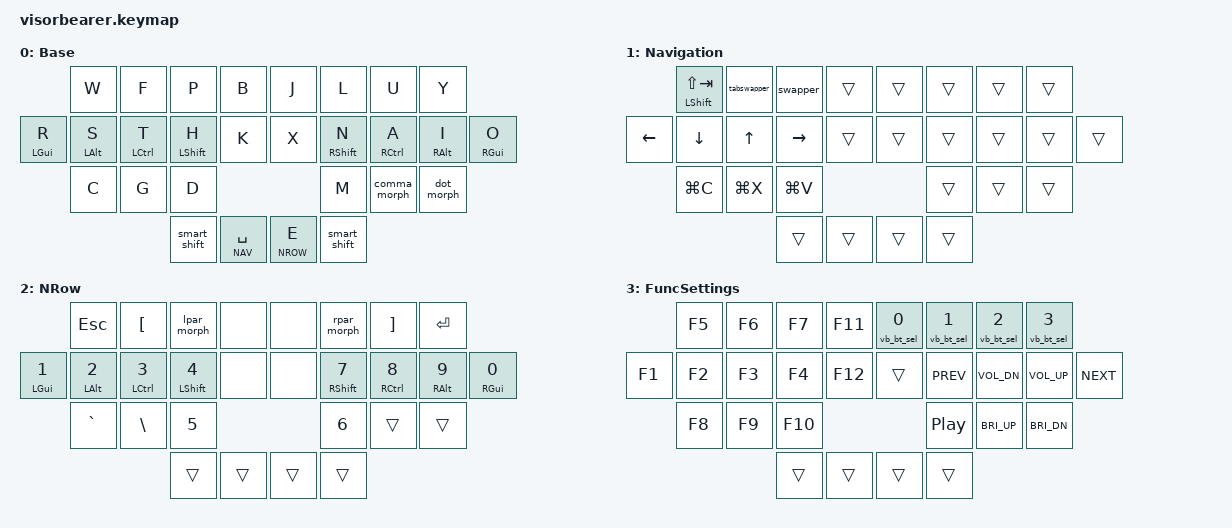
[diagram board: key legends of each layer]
#include <behaviors.dtsi>
#include <dt-bindings/zmk/keys.h>
#include <dt-bindings/zmk/bt.h>
#include <dt-bindings/zmk/outputs.h>
#include <behaviors/visorbearer_led.dtsi>

#include "zmk-helpers/helper.h"
#include "visorbearer.h"

/* HOUSEKEEPING */
// Apply matrix transform for physical layout
ZMK_APPLY_MATRIX_TRANSFORM(visorbearer_13332_transform)

// Define shorthands for QoL & readability
#define APT  0
#define NAV  1
#define NROW 2
#define FUN  3

#define XXX &none
#define ___ &trans

#define KEYS_L LT0 LT1 LT2 LT3 LM0 LM1 LM2 LM3 LM4 LB1 LB2 LB3  // left-hand keys
#define KEYS_R RT0 RT1 RT2 RT3 RM0 RM1 RM2 RM3 RM4 RB1 RB2 RB3  // right-hand keys
#define THUMBS LH0 LH1 RH0 RH1                                  // thumb keys

/* GLOBAL DEFAULTS */

#define QUICK_TAP_MS 175

&soft_off { hold-time-ms = <5000>; };

&sk {
  release-after-ms = <900>;
  quick-release;
};

&sl { // Allow sticky mods to chord across sticky layers.
  ignore-modifiers;
};

&lt {
  flavor = "balanced";
  tapping-term-ms = <200>;
  quick-tap-ms = <QUICK_TAP_MS>;
};

/* CUSTOM BEHAVIORS */
#define AS(keycode) &as LS(keycode) keycode     // Autoshift Macro
#define MEH LS(LC(LALT))

// Alt+Tab swapper, requires tri-state module.
ZMK_TRI_STATE(swapper, bindings = <&kt LGUI>, <&kp TAB>, <&kt LGUI>;
              ignored-key-positions = <LT3 LM1 LM2 LM3 LM4>;)

ZMK_TRI_STATE(tabswapper, bindings = <&kt LCTL>, <&kp TAB>, <&kt LCTL>;
              ignored-key-positions = <LT3 LM1 LM2 LM3 LM4>;)

// Define mod-morph with a *single* mod trigger for less repetition.
#define SIMPLE_MORPH(NAME, MOD, BINDING1, BINDING2)                            \
  ZMK_MOD_MORPH(NAME, mods = <(MOD_L##MOD | MOD_R##MOD)>;                      \
                bindings = <BINDING1>, <BINDING2>;)

// Tap: comma | Shift + tap: semicolon
SIMPLE_MORPH(comma_morph, SFT, &kp COMMA, &kp SEMICOLON)
// Tap: period | Shift + tap: colon
SIMPLE_MORPH(dot_morph, SFT, &kp DOT, &kp COLON)

// Tap: parentheses | Shift + tap: angle bracket
SIMPLE_MORPH(lpar_morph, SFT, &kp LPAR, &kp LT)
SIMPLE_MORPH(rpar_morph, SFT, &kp RPAR, &kp GT)

// Tap: backspace | Shift + tap: delete
SIMPLE_MORPH(bksp_del, SFT, &kp BACKSPACE, &kp DELETE)

ZMK_MACRO(qu,
  bindings = <&kp Q &kp U>;
)

/* COMBOS */
/*    VISORBEARER KEY MATRIX / LAYOUT MAPPING
      ╭──────────────────┬──────────────────╮
      │ LT3 LT2 LT1 LT0  │  RT0 RT1 RT2 RT3 │
  ╭───╯ LM3 LM2 LM1 LM0  │  RM0 RM1 RM2 RM3 ╰───╮
  │ LM4 LB3 LB2 LB1      │      RB1 RB2 RB3 RM4 │
  ╰───────────╮ LH1 LH0  │  RH0 RH1 ╭───────────╯
              ╰──────────┴──────────╯
*/

/* COMBOS */
#define COMBO_TERM_FAST 18
#define COMBO_TERM_SLOW 30

#define COMBO_IDLE_FAST 150
#define COMBO_IDLE_SLOW 50

/* Crossbody combos */
ZMK_COMBO(softoff,      &vb_soft_off,          LT0 RT0,     APT                   , COMBO_TERM_SLOW, COMBO_IDLE_SLOW)
ZMK_COMBO(capslock,     &kp CAPSLOCK,          LT3 RT3,     APT                   , COMBO_TERM_SLOW, COMBO_IDLE_SLOW)
ZMK_COMBO(capsword,     &caps_word,            LM1 RM1,     APT                   , COMBO_TERM_SLOW, COMBO_IDLE_SLOW)

/* Horizontal combos - left hand */
ZMK_COMBO(q,            &kp Q,                 LT3 LT2,     APT                   , COMBO_TERM_SLOW, COMBO_IDLE_SLOW)
ZMK_COMBO(z,            &kp Z,                 LT2 LT1,     APT                   , COMBO_TERM_SLOW, COMBO_IDLE_SLOW)
ZMK_COMBO(esc,          &kp ESCAPE,            LT3 LT1,     APT NAV NROW          , COMBO_IDLE_SLOW, COMBO_IDLE_SLOW)

// Combos overlapping HRMs are set up as hold-taps themselves to allow for instantaneous
// chording of mods.
ZMK_COMBO(enter_l,      &hl LA(LC(LGUI))ENTER, LM3 LM2 LM1, APT                   , COMBO_TERM_SLOW, COMBO_IDLE_FAST)
ZMK_COMBO(bksp_l,       &hl LA(LC(LGUI))BKSP,  LM3 LM2 LM1,     NAV               , COMBO_TERM_SLOW, COMBO_IDLE_FAST)
ZMK_COMBO(tab,          &hl LC(LGUI) TAB,      LM3 LM1,     APT NAV NROW          , COMBO_TERM_SLOW, COMBO_IDLE_SLOW)
ZMK_COMBO(qu,           &qu,                   LM2 LM1,     APT                   , COMBO_TERM_FAST, COMBO_IDLE_FAST)
ZMK_COMBO(v,            &hl LA(LCTL) V,        LM3 LM2,     APT                   , COMBO_TERM_FAST, COMBO_IDLE_FAST)

ZMK_COMBO(undo,         &kp LG(Z),             LB3 LB2,         NAV               , COMBO_TERM_SLOW, COMBO_IDLE_SLOW)
ZMK_COMBO(redo,         &kp LS(LG(Z)),         LB2 LB1,         NAV               , COMBO_TERM_SLOW, COMBO_IDLE_SLOW)

/* Vertical combos - left hand */
ZMK_COMBO(hash,         &kp HASH,              LT3 LM3,     APT     NROW          , COMBO_TERM_SLOW, COMBO_IDLE_FAST)
ZMK_COMBO(dllr,         &kp DLLR,              LT2 LM2,     APT     NROW          , COMBO_TERM_SLOW, COMBO_IDLE_FAST)
ZMK_COMBO(percent,      &kp PERCENT,           LT1 LM1,     APT     NROW          , COMBO_TERM_SLOW, COMBO_IDLE_FAST)
ZMK_COMBO(at,           &kp AT,                LT0 LM0,     APT     NROW          , COMBO_TERM_SLOW, COMBO_IDLE_FAST)

/* Horizontal combos - right hand */
ZMK_COMBO(equal,        &kp EQUAL,             RT3 RT2,     APT     NROW          , COMBO_TERM_SLOW, COMBO_IDLE_SLOW)
ZMK_COMBO(minus,        &kp MINUS,             RT2 RT1,     APT     NROW          , COMBO_TERM_SLOW, COMBO_IDLE_SLOW)

ZMK_COMBO(bt_clr,       &vb_bt_clr,            RT3 RT2 RT1,              FUN      , COMBO_TERM_SLOW, COMBO_IDLE_SLOW)

ZMK_COMBO(enter_r,      &hr RC(RGUI) ENTER,    RM3 RM1,     APT NAV NROW          , COMBO_TERM_FAST, COMBO_IDLE_FAST)
ZMK_COMBO(bksp_r,       &hr RC(RA(RGUI)) BKSP, RM3 RM2 RM1, APT NAV NROW          , COMBO_TERM_SLOW, COMBO_IDLE_FAST)
ZMK_COMBO(apos,         &hr RC(RALT) APOS,     RM3 RM2,     APT NAV NROW          , COMBO_TERM_FAST, COMBO_IDLE_FAST)

ZMK_COMBO(fslash,       &kp SLASH,             RB3 RB2,     APT NAV NROW          , COMBO_TERM_SLOW, COMBO_IDLE_FAST)
ZMK_COMBO(excl,         &kp EXCL,              RB2 RB1,     APT NAV NROW          , COMBO_TERM_SLOW, COMBO_IDLE_FAST)

ZMK_COMBO(esc_thumb,    &kp ESC,               RH1 RH0,     APT NAV NROW          , COMBO_TERM_SLOW, COMBO_IDLE_FAST)

/* Vertical combos - right hand */
ZMK_COMBO(star,         &kp STAR,              RT3 RM3,     APT     NROW          , COMBO_TERM_SLOW, COMBO_IDLE_FAST)
ZMK_COMBO(amps,         &kp AMPS,              RT2 RM2,     APT     NROW          , COMBO_TERM_SLOW, COMBO_IDLE_FAST)
ZMK_COMBO(caret,        &kp CARET,             RT1 RM1,     APT     NROW          , COMBO_TERM_SLOW, COMBO_IDLE_FAST)

/ {
    behaviors {
      as: auto_shift {
        compatible = "zmk,behavior-hold-tap";
        #binding-cells = <2>;
        tapping_term_ms = <250>;
        // quick_tap_ms = <0>;
        require-prior-idle-ms = <100>;
        flavor = "tap-preferred";
        bindings = <&kp>, <&kp>;
      };

      ht: hold_tap {
        compatible = "zmk,behavior-hold-tap";
        #binding-cells = <2>;
        tapping_term_ms = <200>;
        flavor = "balanced";
        bindings = <&kp>, <&kp>;
      };
      hrm: alpha_hold_tap {
        compatible = "zmk,behavior-hold-tap";
        #binding-cells = <2>;
        flavor = "balanced";
        tapping-term-ms = <280>;
        quick-tap-ms = <175>;
        require-prior-idle-ms = <150>;
        bindings = <&kp>, <&kp>;
      };

      hl: left_homerow_mods {
        compatible = "zmk,behavior-hold-tap";
        #binding-cells = <2>;
        flavor = "balanced";
        tapping-term-ms = <280>;
        quick-tap-ms = <QUICK_TAP_MS>;
        require-prior-idle-ms = <150>;
        bindings = <&kp>, <&kp>;
        hold-trigger-key-positions = <KEYS_R THUMBS>;
        hold-trigger-on-release;
      };

      hr: right_homerow_mods {
        compatible = "zmk,behavior-hold-tap";
        #binding-cells = <2>;
        flavor = "balanced";
        tapping-term-ms = <280>;
        quick-tap-ms = <QUICK_TAP_MS>;
        require-prior-idle-ms = <150>;
        bindings = <&kp>, <&kp>;
        hold-trigger-key-positions = <KEYS_L THUMBS>;
        hold-trigger-on-release;
      };

      sabk: shift_to_alt_backspace {
        compatible = "zmk,behavior-mod-morph";
        #binding-cells = <0>;
        bindings = <&kp BSPC>, <&kp LA(BSPC)>;
        mods = <(MOD_LSFT|MOD_RSFT)>;
      };

      smart_shift: smart_shift {
        compatible = "zmk,behavior-mod-morph";
        #binding-cells = <0>;
        bindings = <&sk LSHFT>, <&caps_word>;
        mods = <(MOD_LSFT|MOD_RSFT)>;
      };

      sym_bspc: left_thumb_hold_tap {
        compatible = "zmk,behavior-hold-tap";
        #binding-cells = <2>;
        flavor = "tap-preferred";
        tapping-term-ms = <150>;
        quick-tap-ms = <200>;
        bindings = <&mo>, <&sabk>;
      };
    };

    conditional_layers {
      compatible = "zmk,conditional-layers";
      tri_layer {
        if-layers = <1 2>;
        then-layer = <3>;
      };
    };

    keymap {
      compatible = "zmk,keymap";

      base {
        display-name = "Base";
        bindings = <
        //                ╭─────────────┬─────────────┬─────────────┬─────────────╮   ╭─────────────┬─────────────┬─────────────┬─────────────╮
                            &kp W         &kp F         &kp P         &kp B             &kp J         &kp L         &kp U         &kp Y
        //  ╭─────────────┼─────────────┼─────────────┼─────────────┼─────────────┤   ├─────────────┼─────────────┼─────────────┼─────────────┼─────────────╮
              &hl LGUI R   &hl LALT S    &hl LCTL T    &hl LSHFT H    &kp K             &kp X         &hr RSHFT N   &hr RCTL A    &hr RALT I    &hr RGUI O
        //  ╰─────────────┼─────────────┼─────────────┼─────────────┼─────────────╯   ╰─────────────┼─────────────┼─────────────┼─────────────┼─────────────╯
                            &kp C         &kp G        &kp D                                          &kp M         &comma_morph  &dot_morph
        //                ╰─────────────┼─────────────┼─────────────┼─────────────╮   ╭─────────────┼─────────────┼─────────────┼─────────────╯
                                                        &smart_shift  &lt NAV SPACE     &lt NROW E    &smart_shift
        //                                            ╰─────────────┴─────────────╯   ╰─────────────┴─────────────╯
        >;
      };

      nav {
        display-name = "Navigation";
        bindings = <
        //                ╭─────────────┬─────────────┬─────────────┬─────────────╮   ╭─────────────┬─────────────┬─────────────┬─────────────╮
                      &mt LSHIFT LS(TAB)  &tabswapper   &swapper      ___               ___           ___           ___           ___
        //  ╭─────────────┼─────────────┼─────────────┼─────────────┼─────────────┤   ├─────────────┼─────────────┼─────────────┼─────────────┼─────────────╮
              &kp LEFT      &kp DOWN      &kp UP        &kp RIGHT     ___               ___           ___           ___           ___           ___
        //  ╰─────────────┼─────────────┼─────────────┼─────────────┼─────────────╯   ╰─────────────┼─────────────┼─────────────┼─────────────┼─────────────╯
                            &kp LG(C)     &kp LG(X)     &kp LG(V)                                    ___           ___           ___
        //                ╰─────────────┼─────────────┼─────────────┼─────────────╮   ╭─────────────┼─────────────┼─────────────┼─────────────╯
                                                        ___           ___               ___           ___
        //                                            ╰─────────────┴─────────────╯   ╰─────────────┴─────────────╯
        >;
      };

      nrow {
        display-name = "NRow";
        bindings = <
        //                ╭─────────────┬─────────────┬─────────────┬─────────────╮   ╭─────────────┬─────────────┬─────────────┬─────────────╮
                            &kp ESC       &kp LBKT      &lpar_morph   XXX               XXX           &rpar_morph   &kp RBKT      &kp ENTER
        //  ╭─────────────┼─────────────┼─────────────┼─────────────┼─────────────┤   ├─────────────┼─────────────┼─────────────┼─────────────┼─────────────╮
              &hl LGUI N1   &hl LALT N2   &hl LCTRL N3  &hl LSHFT N4  XXX               XXX           &hr RSHFT N7  &hr RCTRL N8  &hr RALT N9   &hr RGUI N0
        //  ╰─────────────┼─────────────┼─────────────┼─────────────┼─────────────╯   ╰─────────────┼─────────────┼─────────────┼─────────────┼─────────────╯
                            &kp GRAVE     &kp BSLH      &kp N5                                        &kp N6        ___           ___
        //                ╰─────────────┼─────────────┼─────────────┼─────────────╮   ╭─────────────┼─────────────┼─────────────┼─────────────╯
                                                        ___           ___               ___           ___
        //                                            ╰─────────────┴─────────────╯   ╰─────────────┴─────────────╯
        >;
      };

      func {
        display-name = "FuncSettings";
        bindings = <
        //                ╭─────────────┬─────────────┬─────────────┬─────────────╮   ╭─────────────┬─────────────┬─────────────┬─────────────╮
                            &kp F5        &kp F6        &kp F7        &kp F11           &vb_bt_sel 0  &vb_bt_sel 1  &vb_bt_sel 2  &vb_bt_sel 3
        //  ╭─────────────┼─────────────┼─────────────┼─────────────┼─────────────┤   ├─────────────┼─────────────┼─────────────┼─────────────┼─────────────╮
              &kp F1        &kp F2        &kp F3        &kp F4        &kp F12           ___           &kp C_PREV    &kp C_VOL_DN  &kp C_VOL_UP  &kp C_NEXT
        //  ╰─────────────┼─────────────┼─────────────┼─────────────┼─────────────╯   ╰─────────────┼─────────────┼─────────────┼─────────────┼─────────────╯
                            &kp F8        &kp F9        &kp F10                                       &kp C_PP      &kp C_BRI_UP  &kp C_BRI_DN
        //                ╰─────────────┼─────────────┼─────────────┼─────────────╮   ╭─────────────┼─────────────┼─────────────┼─────────────╯
                                                        ___           ___               ___           ___
        //                                            ╰─────────────┴─────────────╯   ╰─────────────┴─────────────╯
        >;
      };

    };
};
